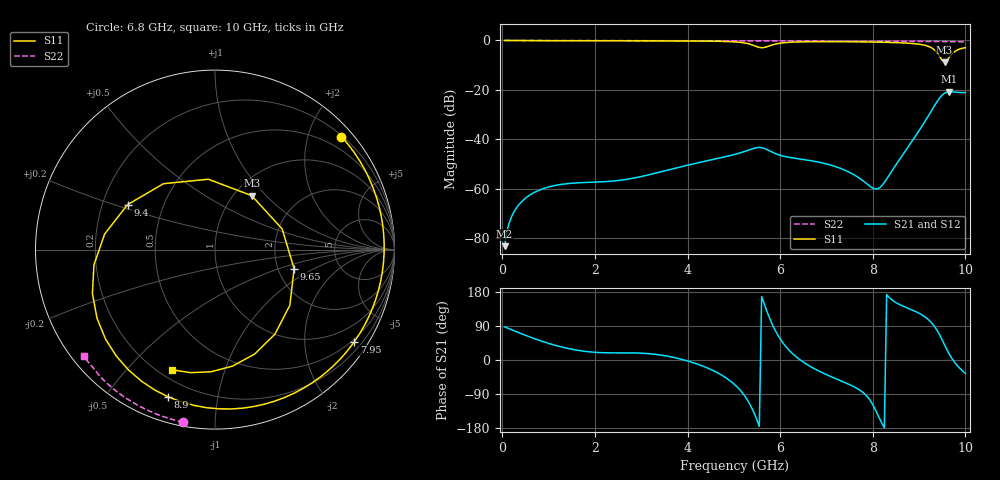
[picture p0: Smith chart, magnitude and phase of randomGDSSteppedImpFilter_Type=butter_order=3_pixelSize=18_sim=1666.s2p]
! freq	dB(S11)	phase(S11)	dB(S12)	phase(S12)
!  dB(S21)	phase(S21)	dB(S22)	phase(S22)
!S-par simulation data
#  GHz  S  DB  R 50
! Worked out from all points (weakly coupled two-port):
!   200 points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, 50 MHz to 10 GHz, reference 50 ohm
!   highest |S21| = -20.78 dB at 9.65 GHz (marker M1); lowest = -83.3 dB at 50 MHz (marker M2)
!   lowest |S11| = -8.8 dB at 9.55 GHz (marker M3), VSWR 2.14, Z = 60.1 + j41.6 ohm
!   |S11| at or under -10 dB: nowhere
!   |S22| runs from -0.5 to 0.0 dB; largest |S21 - S12| = 0
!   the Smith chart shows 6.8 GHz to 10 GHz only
!   S11 on the Smith chart (normalised r, x): 6.8 GHz: 0.22, +2.60; 7.95 GHz: 0.43, -3.27; 8.9 GHz: 0.11, -0.72; 9.4 GHz: 0.31, +0.22; 9.65 GHz: 2.45, -0.66; 10 GHz: 0.25, -0.67
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0.05  -0.00 -4.3  -83.35 87.4  -83.35 87.4  -0.00 -0.8
0.35  -0.04 -29.7  -66.74 72.4  -66.74 72.4  -0.01 -5.7
0.85  -0.08 -69.1  -60.25 49.8  -60.25 49.8  -0.02 -13.7
1.75  -0.12 -127.1  -57.57 23.4  -57.57 23.4  -0.04 -28.0
3.4  -0.18 152.8  -53.33 13.4  -53.33 13.4  -0.07 -53.3
4.45  -0.29 99.1  -48.64 -22.2  -48.64 -22.2  -0.10 -68.6
5.05  -0.63 49.6  -46.02 -68.6  -46.02 -68.6  -0.12 -77.0
5.35  -1.52 -4.6  -44.19 -117.9  -44.19 -117.9  -0.13 -81.2
5.55  -2.82 -80.8  -43.35 -175.2  -43.35 -175.2  -0.14 -83.9
5.7  -2.62 -153.7  -44.08 133.1  -44.08 133.1  -0.14 -85.9
5.8  -1.98 168.6  -45.01 102.2  -45.01 102.2  -0.15 -87.3
6.15  -0.82 99.4  -47.20 31.6  -47.20 31.6  -0.16 -91.9
6.7  -0.50 49.0  -48.83 -20.4  -48.83 -20.4  -0.19 -99.2
6.8  -0.49 41.8  -49.18 -26.9  -49.18 -26.9  -0.20 -100.5
7.95  -0.63 -33.5  -59.22 -107.7  -59.22 -107.7  -0.27 -115.1
8.35  -0.79 -61.0  -54.71 165.6  -54.71 165.6  -0.31 -120.1
8.9  -1.30 -107.7  -39.36 129.3  -39.36 129.3  -0.36 -127.0
9.25  -2.79 -160.3  -29.02 100.6  -29.02 100.6  -0.41 -131.5
9.4  -5.23 152.8  -24.46 75.9  -24.46 75.9  -0.44 -133.4
9.55  -8.79 55.7  -21.36 40.0  -21.36 40.0  -0.48 -135.2
9.65  -6.87 -13.6  -20.78 15.9  -20.78 15.9  -0.49 -136.4
10  -2.96 -109.8  -21.07 -35.4  -21.07 -35.4  -0.53 -141.0
